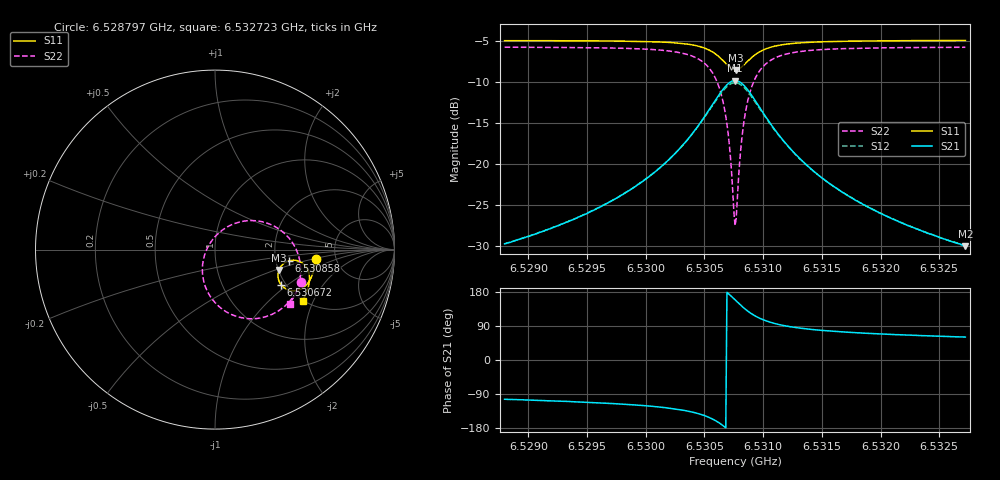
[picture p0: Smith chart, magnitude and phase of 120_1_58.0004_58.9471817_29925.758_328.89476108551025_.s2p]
#  HZ  S  RI  R  50.00
! Rohde & Schwarz Vector Network Analyzer
! Rohde-Schwarz,ZNB20-2Port,1311601062101988,3.16
! Created: UTC 3/21/2024, 12:55:40 AM
! freq[Hz]  re:S11  im:S11  re:S21  im:S21  re:S12  im:S12  re:S22  im:S22
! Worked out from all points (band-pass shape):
!   401 points, 6.528797 GHz to 6.532723 GHz, reference 50 ohm
!   highest |S21| = -9.85 dB at 6.53076 GHz (marker M1); lowest = -30.0 dB at 6.532723 GHz (marker M2)
!   |S21| within 3 dB of the highest: 6.530565 GHz to 6.530957 GHz (392.5 kHz wide, 0.00601 % of centre)
!   lowest |S11| = -8.5 dB at 6.53077 GHz (marker M3), VSWR 2.19, Z = 101 - j26.4 ohm
!   |S11| at or under -10 dB: nowhere
!   |S22| runs from -27.5 to -5.8 dB; largest |S21 - S12| = 0.013
!   S11 on the Smith chart (normalised r, x): 6.528797 GHz: 3.48, -0.55; 6.530672 GHz: 1.89, -0.89; 6.530858 GHz: 2.36, -0.36; 6.532723 GHz: 1.98, -1.66
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6.5287965e9  0.5606 -0.0537  -0.00765 -0.0318  -0.00842 -0.0315  0.4805 -0.1825
6.5294543e9  0.5513 -0.1095  -0.0174 -0.0451  -0.0185 -0.0448  0.4484 -0.245
6.529788e9  0.5418 -0.1415  -0.0284 -0.0577  -0.03 -0.0569  0.4186 -0.2848
6.530112e9  0.524 -0.1776  -0.0523 -0.0777  -0.0547 -0.0762  0.3637 -0.3346
6.5303378e9  0.4969 -0.2082  -0.0938 -0.0984  -0.0968 -0.0951  0.2798 -0.3747
6.5305047e9  0.4519 -0.2282  -0.165 -0.1059  -0.1676 -0.0989  0.1483 -0.3797
6.5306029e9  0.405 -0.2233  -0.2379 -0.079  -0.2372 -0.0685  0.0262 -0.3204
6.5306716e9  0.3679 -0.1948  -0.2923 -0.0181  -0.2861 -0.00732  -0.0534 -0.2073
6.530701e9  0.3562 -0.1738  -0.3069 0.0222  -0.298 0.0316  -0.0693 -0.1377
6.5307501e9  0.3517 -0.1304  -0.3052 0.1006  -0.2934 0.1056  -0.0508 -0.00946
6.5307599e9  0.3537 -0.1215  -0.3001 0.1162  -0.2882 0.1201  -0.0394 0.015
6.5307697e9  0.3564 -0.1129  -0.2934 0.1312  -0.2816 0.1341  -0.0257 0.0384
6.5307796e9  0.3602 -0.1046  -0.2856 0.1455  -0.2737 0.1473  -0.00993 0.0601
6.5308188e9  0.3823 -0.0776  -0.2424 0.1914  -0.2325 0.1897  0.0692 0.1269
6.5308581e9  0.4106 -0.0626  -0.1915 0.2161  -0.184 0.2127  0.1578 0.1581
6.5309268e9  0.4557 -0.0611  -0.1124 0.2191  -0.1087 0.2155  0.2906 0.1473
6.531025e9  0.4959 -0.083  -0.0439 0.1871  -0.0423 0.1852  0.4008 0.0772
6.5311722e9  0.5198 -0.1193  -0.00259 0.1386  -0.00131 0.1378  0.4614 -0.0218
6.5314177e9  0.5267 -0.1633  0.0153 0.0907  0.0164 0.0904  0.4772 -0.1225
6.5317122e9  0.522 -0.1998  0.0185 0.0622  0.0194 0.0618  0.4676 -0.1894
6.5320754e9  0.5112 -0.2344  0.0179 0.0437  0.0187 0.0435  0.4497 -0.2405
6.5327233e9  0.4878 -0.2849  0.0155 0.0275  0.0162 0.0272  0.4162 -0.3007
